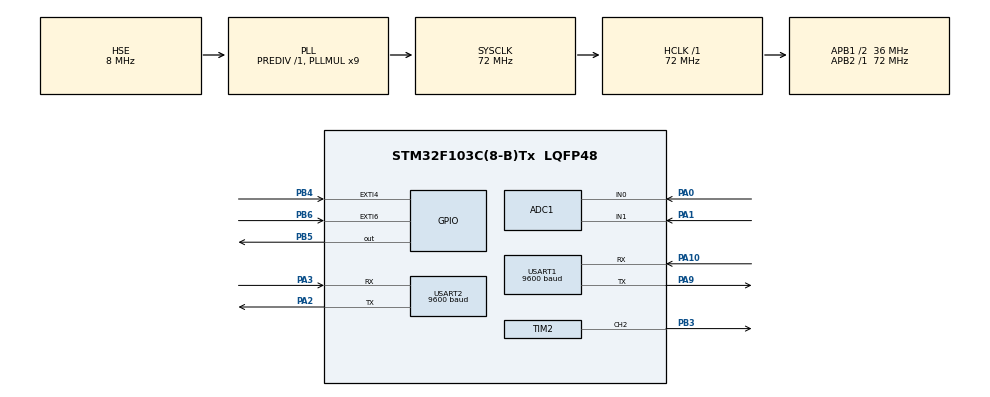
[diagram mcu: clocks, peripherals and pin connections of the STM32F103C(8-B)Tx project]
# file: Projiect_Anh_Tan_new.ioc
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ADC1.Channel-0\#ChannelRegularConversion=ADC_CHANNEL_0
ADC1.Channel-1\#ChannelRegularConversion=ADC_CHANNEL_1
ADC1.NbrOfConversion=2
ADC1.NbrOfConversionFlag=1
ADC1.Rank-0\#ChannelRegularConversion=1
ADC1.Rank-1\#ChannelRegularConversion=2
ADC1.SamplingTime-0\#ChannelRegularConversion=ADC_SAMPLETIME_239CYCLES_5
ADC1.SamplingTime-1\#ChannelRegularConversion=ADC_SAMPLETIME_239CYCLES_5
ADC1.master=1
FREERTOS.Tasks01=Voltage,0,128,Task1_TranVol,Default,NULL,Dynamic,NULL,NULL;Tranfer_Receive,-3,128,Task2_UART,Default,NULL,Dynamic,NULL,NULL;Pluse100,-3,128,Task3_Pluse,Default,NULL,Dynamic,NULL,NULL
Mcu.Family=STM32F1
Mcu.Name=STM32F103C(8-B)Tx
Mcu.Package=LQFP48
NVIC.PriorityGroup=NVIC_PRIORITYGROUP_4
NVIC.TIM4_IRQn=true\:15\:0\:false\:false\:true\:false\:false\:true\:true
NVIC.TimeBase=TIM4_IRQn
NVIC.TimeBaseIP=TIM4
NVIC.USART1_IRQn=true\:5\:0\:true\:false\:true\:true\:true\:true\:true
PA0-WKUP.Signal=ADCx_IN0
PA1.Signal=ADCx_IN1
PA10.Mode=Asynchronous
PA10.Signal=USART1_RX
PA13.Mode=Serial_Wire
PA13.Signal=SYS_JTMS-SWDIO
PA14.Mode=Serial_Wire
PA14.Signal=SYS_JTCK-SWCLK
PA2.Mode=Asynchronous
PA2.Signal=USART2_TX
PA3.Mode=Asynchronous
PA3.Signal=USART2_RX
PA9.Mode=Asynchronous
PA9.Signal=USART1_TX
PB3.Signal=S_TIM2_CH2
PB4.Signal=GPXTI4
PB5.Signal=GPIO_Output
PB6.Signal=GPXTI6
PD0-OSC_IN.Mode=HSE-External-Oscillator
PD0-OSC_IN.Signal=RCC_OSC_IN
PD1-OSC_OUT.Mode=HSE-External-Oscillator
PD1-OSC_OUT.Signal=RCC_OSC_OUT
ProjectManager.HeapSize=0x200
ProjectManager.StackSize=0x400
ProjectManager.TargetToolchain=MDK-ARM V5.32
RCC.ADCPresc=RCC_ADCPCLK2_DIV6
RCC.AHBFreq_Value=72000000
RCC.APB1CLKDivider=RCC_HCLK_DIV2
RCC.APB1Freq_Value=36000000
RCC.APB1TimFreq_Value=72000000
RCC.APB2Freq_Value=72000000
RCC.APB2TimFreq_Value=72000000
RCC.HCLKFreq_Value=72000000
RCC.PLLMUL=RCC_PLL_MUL9
RCC.PLLSourceVirtual=RCC_PLLSOURCE_HSE
RCC.SYSCLKFreq_VALUE=72000000
RCC.SYSCLKSource=RCC_SYSCLKSOURCE_PLLCLK
RCC.USBFreq_Value=72000000
SH.ADCx_IN0.0=ADC1_IN0,IN0
SH.ADCx_IN1.0=ADC1_IN1,IN1
SH.S_TIM2_CH2.0=TIM2_CH2,PWM Generation2 CH2
TIM2.Channel-PWM\ Generation2\ CH2=TIM_CHANNEL_2
TIM2.OCMode_PWM-PWM\ Generation2\ CH2=TIM_OCMODE_PWM2
TIM2.Period=9999
TIM2.Prescaler=71
USART1.BaudRate=9600
USART1.VirtualMode=VM_ASYNC
USART2.BaudRate=9600
USART2.VirtualMode=VM_ASYNC
VP_FREERTOS_VS_CMSIS_V1.Mode=CMSIS_V1
VP_SYS_VS_tim4.Mode=TIM4
VP_TIM2_VS_ClockSourceINT.Mode=Internal
VP_TIM3_VS_ClockSourceINT.Mode=Internal
board=custom

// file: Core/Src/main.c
/* USER CODE BEGIN Header */
/**
  ******************************************************************************
  * @file           : main.c
  * @brief          : Main program body
  ******************************************************************************
  * @attention
  *
  * Copyright (c) 2023 STMicroelectronics.
  * All rights reserved.
  *
  * This software is licensed under terms that can be found in the LICENSE file
  * in the root directory of this software component.
  * If no LICENSE file comes with this software, it is provided AS-IS.
  *
  ******************************************************************************
  */
/* USER CODE END Header */
#include "main.h"
#include "cmsis_os.h"

/* USER CODE BEGIN Includes */
#include <stdio.h>
#include <delay_timer.h>
/* USER CODE END Includes */

/* USER CODE BEGIN PTD */
uint16_t cnt[3];
#define MAX 100
/* USER CODE END PTD */

ADC_HandleTypeDef hadc1;

TIM_HandleTypeDef htim2;
TIM_HandleTypeDef htim3;

UART_HandleTypeDef huart1;
UART_HandleTypeDef huart2;

osThreadId VoltageHandle;
osThreadId Tranfer_ReceiveHandle;
osThreadId Pluse100Handle;

void SystemClock_Config(void);
static void MX_GPIO_Init(void);
static void MX_ADC1_Init(void);
static void MX_TIM2_Init(void);
static void MX_TIM3_Init(void);
static void MX_USART1_UART_Init(void);
static void MX_USART2_UART_Init(void);
void Task1_TranVol(void const * argument);
void Task2_UART(void const * argument);
void Task3_Pluse(void const * argument);

/* USER CODE BEGIN 0 */
uint8_t Tx0_buff[] = "Task1. Dieu khien dong co bang relay.\n";
uint8_t Rx_buff[30];
uint8_t Rx_data = 0;

uint8_t Tx1_buff[] = "Task2. Dung ADC doc gia tri dien ap.\n";
char V1_buff[MAX], V2_buff[MAX] ;
float x, y;
float V1,V2;

uint32_t cnt1 = 0, cnt2 = 0, cnt3 = 0;
/*************************DOC GIA TRI DIEN AP BANG ADC(2 CHANNAL)****************************************/
//TRUYEN 100 XUNG VOI DO RONG LA 10MS
void Pluse()
{
	 __HAL_TIM_SetCompare(&htim2, TIM_CHANNEL_2, 5000);
	Delayms(10000);

	 __HAL_TIM_SetCompare(&htim2, TIM_CHANNEL_2, 10000);
}

/********************************************************************************************************/
//TRUYEN NHAN DU LIEU UART
void HAL_UART_RxCpltCallback(UART_HandleTypeDef *huart)
{
	if(huart->Instance == huart1.Instance)
	{
		if(Rx_data == '1')
	  {
		  HAL_UART_Transmit(&huart1, (uint8_t*)"Relay 1 dong.\n", 15, 300);
		  HAL_GPIO_WritePin(GPIOB, GPIO_PIN_4, GPIO_PIN_SET);
	  }
	  if(Rx_data == '2')
	  {
		  HAL_UART_Transmit(&huart1, (uint8_t*)"Relay 2 dong.\n", 15, 300);
		  HAL_GPIO_WritePin(GPIOB, GPIO_PIN_5, GPIO_PIN_SET);
	  }
	  if(Rx_data == '3')
	  {
		  HAL_UART_Transmit(&huart1, (uint8_t*)"Relay 3 dong.\n", 15, 300);
		  HAL_GPIO_WritePin(GPIOB, GPIO_PIN_6, GPIO_PIN_SET);
	  }
	  if(Rx_data == 'a')
	  {
		  HAL_UART_Transmit(&huart1, (uint8_t*)"Relay 1 cat.\n", 14, 300);
		  HAL_GPIO_WritePin(GPIOB, GPIO_PIN_4, GPIO_PIN_RESET);
	  }
	  if(Rx_data == 'b')
	  {
		 HAL_UART_Transmit(&huart1, (uint8_t*)"Relay 2 cat.\n", 14, 300);
		  HAL_GPIO_WritePin(GPIOB, GPIO_PIN_5, GPIO_PIN_RESET);
	  }
	  if(Rx_data == 'c')
	  {
		  HAL_UART_Transmit(&huart1, (uint8_t*)"Relay 3 cat.\n", 14, 300);
		  HAL_GPIO_WritePin(GPIOB, GPIO_PIN_6, GPIO_PIN_RESET);
	  }
	  if(Rx_data == '0')
	  {
		  HAL_UART_Transmit(&huart1, (uint8_t*)"Ca 3 Relay cung cat.\n", 21, 300);
		  HAL_GPIO_WritePin(GPIOB, GPIO_PIN_4, GPIO_PIN_RESET);
		  HAL_GPIO_WritePin(GPIOB, GPIO_PIN_5, GPIO_PIN_RESET);
		  HAL_GPIO_WritePin(GPIOB, GPIO_PIN_6, GPIO_PIN_RESET);
	  }
		if(Rx_data == 'p')
	   {
		  HAL_UART_Transmit(&huart1, (uint8_t*)"Start\n", 6, 300);
		  Pluse();
		  HAL_UART_Transmit(&huart1, (uint8_t*)"End\n", 4, 300);
		 }
		HAL_UART_Receive_IT(&huart1, &Rx_data, 1);
	}
	if(huart->Instance == huart2.Instance)
	{
//		if(Rx_data == 'p')
//	   {
//		  HAL_UART_Transmit(&huart1, (uint8_t*)"Start\n", 6, 300);
//		  Pluse();
//		  HAL_UART_Transmit(&huart1, (uint8_t*)"End\n", 4, 300);
//		 }
	}
	HAL_UART_Receive_IT(&huart2, &Rx_data, 1);
}

/*************************DOC GIA TRI DIEN AP BANG ADC(2 CHANNAL)****************************************/
//KHOI TAO ADC1 CHANNAL 0
void ADC_Select_CH0 (void)
{
 ADC_ChannelConfTypeDef sConfig = {0};
 sConfig.Channel = ADC_CHANNEL_0;
 sConfig.Rank = ADC_REGULAR_RANK_1;
 sConfig.SamplingTime = ADC_SAMPLETIME_239CYCLES_5;
 if (HAL_ADC_ConfigChannel(&hadc1, &sConfig) != HAL_OK)
 {
   Error_Handler();
 }
}

//KHOI TAO ADC1 CHANNAL 1
void ADC_Select_CH1 (void)
{
 ADC_ChannelConfTypeDef sConfig = {0};
 sConfig.Channel = ADC_CHANNEL_1;
 sConfig.Rank = ADC_REGULAR_RANK_1;
 sConfig.SamplingTime = ADC_SAMPLETIME_239CYCLES_5;
 if (HAL_ADC_ConfigChannel(&hadc1, &sConfig) != HAL_OK)
 {
   Error_Handler();
 }
}

//DOC GIA TRI DIEN AP 5V(PA0)
void ReadVol_PA0()
{
	ADC_Select_CH0();
	HAL_ADC_Start(&hadc1);
	HAL_ADC_PollForConversion(&hadc1, 300);
	x = HAL_ADC_GetValue(&hadc1);
  V1 = x*5.5/4095;
	snprintf(V1_buff, 99, "%.2f", V1);
	HAL_ADC_Stop(&hadc1);
}

//DOC GIA TRI DIEN AP 3V3(PA0)
void ReadVol_PA1()
{
	ADC_Select_CH1();
	HAL_ADC_Start(&hadc1);
	HAL_ADC_PollForConversion(&hadc1, 300);
	y = HAL_ADC_GetValue(&hadc1);
  V2 = y*3.3/4095;
	snprintf(V2_buff, 99, "%.2f", V2);
	HAL_ADC_Stop(&hadc1);
}

//HIEN THI GIA TRI 5V - UART
void TranVol_PA0()
{
	ReadVol_PA0();
	HAL_UART_Transmit(&huart1, (uint8_t *)"Gia tri dien ap tai chan PA0 la: ", 35, 300);
	HAL_UART_Transmit(&huart1, (uint8_t *)V1_buff, sizeof(V1_buff), 300);
	HAL_UART_Transmit(&huart1, (uint8_t *)"\n", 1, 300);
}

//HIEN THI GIA TRI 3V3 - UART
void TranVol_PA1()
{
	ReadVol_PA1();
	HAL_UART_Transmit(&huart1,(uint8_t *)"Gia tri dien ap tai chan PA1 la: ", 35, 300);
	HAL_UART_Transmit(&huart1, (uint8_t *)V2_buff, sizeof(V2_buff), 300);
	HAL_UART_Transmit(&huart1, (uint8_t *)"\n", 1, 300);
}

/*****************************************************************************************************/
/* USER CODE END 0 */

int main(void)
{

  /* MCU Configuration--------------------------------------------------------*/

  /* Reset of all peripherals, Initializes the Flash interface and the Systick. */
  HAL_Init();

  /* Configure the system clock */
  SystemClock_Config();

  /* Initialize all configured peripherals */
  MX_GPIO_Init();
  MX_ADC1_Init();
  MX_TIM2_Init();
  MX_TIM3_Init();
  MX_USART1_UART_Init();
  MX_USART2_UART_Init();
  /* USER CODE BEGIN 2 */
	HAL_UART_Receive_IT(&huart1, &Rx_data, 1);
  HAL_UART_Receive_IT(&huart2, &Rx_data, 1);
  /* USER CODE END 2 */

  /* Create the thread(s) */
  /* definition and creation of Voltage */
  osThreadDef(Voltage, Task1_TranVol, osPriorityNormal, 0, 128);
  VoltageHandle = osThreadCreate(osThread(Voltage), NULL);

  /* definition and creation of Tranfer_Receive */
  osThreadDef(Tranfer_Receive, Task2_UART, osPriorityIdle, 0, 128);
  Tranfer_ReceiveHandle = osThreadCreate(osThread(Tranfer_Receive), NULL);

  /* definition and creation of Pluse100 */
  osThreadDef(Pluse100, Task3_Pluse, osPriorityIdle, 0, 128);
  Pluse100Handle = osThreadCreate(osThread(Pluse100), NULL);

  /* Start scheduler */
  osKernelStart();

  /* We should never get here as control is now taken by the scheduler */
  /* Infinite loop */
  while (1)
  {

  }
}

void SystemClock_Config(void)
{
  RCC_OscInitTypeDef RCC_OscInitStruct = {0};
  RCC_ClkInitTypeDef RCC_ClkInitStruct = {0};
  RCC_PeriphCLKInitTypeDef PeriphClkInit = {0};

  /** Initializes the RCC Oscillators according to the specified parameters
  * in the RCC_OscInitTypeDef structure.
  */
  RCC_OscInitStruct.OscillatorType = RCC_OSCILLATORTYPE_HSE;
  RCC_OscInitStruct.HSEState = RCC_HSE_ON;
  RCC_OscInitStruct.HSEPredivValue = RCC_HSE_PREDIV_DIV1;
  RCC_OscInitStruct.HSIState = RCC_HSI_ON;
  RCC_OscInitStruct.PLL.PLLState = RCC_PLL_ON;
  RCC_OscInitStruct.PLL.PLLSource = RCC_PLLSOURCE_HSE;
  RCC_OscInitStruct.PLL.PLLMUL = RCC_PLL_MUL9;
  if (HAL_RCC_OscConfig(&RCC_OscInitStruct) != HAL_OK)
  {
    Error_Handler();
  }

  /** Initializes the CPU, AHB and APB buses clocks
  */
  RCC_ClkInitStruct.ClockType = RCC_CLOCKTYPE_HCLK|RCC_CLOCKTYPE_SYSCLK
                              |RCC_CLOCKTYPE_PCLK1|RCC_CLOCKTYPE_PCLK2;
  RCC_ClkInitStruct.SYSCLKSource = RCC_SYSCLKSOURCE_PLLCLK;
  RCC_ClkInitStruct.AHBCLKDivider = RCC_SYSCLK_DIV1;
  RCC_ClkInitStruct.APB1CLKDivider = RCC_HCLK_DIV2;
  RCC_ClkInitStruct.APB2CLKDivider = RCC_HCLK_DIV1;

  if (HAL_RCC_ClockConfig(&RCC_ClkInitStruct, FLASH_LATENCY_2) != HAL_OK)
  {
    Error_Handler();
  }
  PeriphClkInit.PeriphClockSelection = RCC_PERIPHCLK_ADC;
  PeriphClkInit.AdcClockSelection = RCC_ADCPCLK2_DIV6;
  if (HAL_RCCEx_PeriphCLKConfig(&PeriphClkInit) != HAL_OK)
  {
    Error_Handler();
  }
}

static void MX_ADC1_Init(void)
{

  ADC_ChannelConfTypeDef sConfig = {0};

  /** Common config
  */
  hadc1.Instance = ADC1;
  hadc1.Init.ScanConvMode = ADC_SCAN_ENABLE;
  hadc1.Init.ContinuousConvMode = DISABLE;
  hadc1.Init.DiscontinuousConvMode = DISABLE;
  hadc1.Init.ExternalTrigConv = ADC_SOFTWARE_START;
  hadc1.Init.DataAlign = ADC_DATAALIGN_RIGHT;
  hadc1.Init.NbrOfConversion = 2;
  if (HAL_ADC_Init(&hadc1) != HAL_OK)
  {
    Error_Handler();
  }

  /** Configure Regular Channel
  */
  sConfig.Channel = ADC_CHANNEL_0;
  sConfig.Rank = ADC_REGULAR_RANK_1;
  sConfig.SamplingTime = ADC_SAMPLETIME_239CYCLES_5;
  if (HAL_ADC_ConfigChannel(&hadc1, &sConfig) != HAL_OK)
  {
    Error_Handler();
  }

  /** Configure Regular Channel
  */
  sConfig.Channel = ADC_CHANNEL_1;
  sConfig.Rank = ADC_REGULAR_RANK_2;
  if (HAL_ADC_ConfigChannel(&hadc1, &sConfig) != HAL_OK)
  {
    Error_Handler();
  }

}

static void MX_TIM2_Init(void)
{

  TIM_ClockConfigTypeDef sClockSourceConfig = {0};
  TIM_MasterConfigTypeDef sMasterConfig = {0};
  TIM_OC_InitTypeDef sConfigOC = {0};

  htim2.Instance = TIM2;
  htim2.Init.Prescaler = 71;
  htim2.Init.CounterMode = TIM_COUNTERMODE_UP;
  htim2.Init.Period = 9999;
  htim2.Init.ClockDivision = TIM_CLOCKDIVISION_DIV1;
  htim2.Init.AutoReloadPreload = TIM_AUTORELOAD_PRELOAD_DISABLE;
  if (HAL_TIM_Base_Init(&htim2) != HAL_OK)
  {
    Error_Handler();
  }
  sClockSourceConfig.ClockSource = TIM_CLOCKSOURCE_INTERNAL;
  if (HAL_TIM_ConfigClockSource(&htim2, &sClockSourceConfig) != HAL_OK)
  {
    Error_Handler();
  }
  if (HAL_TIM_PWM_Init(&htim2) != HAL_OK)
  {
    Error_Handler();
  }
  sMasterConfig.MasterOutputTrigger = TIM_TRGO_RESET;
  sMasterConfig.MasterSlaveMode = TIM_MASTERSLAVEMODE_DISABLE;
  if (HAL_TIMEx_MasterConfigSynchronization(&htim2, &sMasterConfig) != HAL_OK)
  {
    Error_Handler();
  }
  sConfigOC.OCMode = TIM_OCMODE_PWM2;
  sConfigOC.Pulse = 0;
  sConfigOC.OCPolarity = TIM_OCPOLARITY_HIGH;
  sConfigOC.OCFastMode = TIM_OCFAST_DISABLE;
  if (HAL_TIM_PWM_ConfigChannel(&htim2, &sConfigOC, TIM_CHANNEL_2) != HAL_OK)
  {
    Error_Handler();
  }
  HAL_TIM_MspPostInit(&htim2);

}

static void MX_TIM3_Init(void)
{

  TIM_ClockConfigTypeDef sClockSourceConfig = {0};
  TIM_MasterConfigTypeDef sMasterConfig = {0};

  htim3.Instance = TIM3;
  htim3.Init.Prescaler = 0;
  htim3.Init.CounterMode = TIM_COUNTERMODE_UP;
  htim3.Init.Period = 65535;
  htim3.Init.ClockDivision = TIM_CLOCKDIVISION_DIV1;
  htim3.Init.AutoReloadPreload = TIM_AUTORELOAD_PRELOAD_DISABLE;
  if (HAL_TIM_Base_Init(&htim3) != HAL_OK)
  {
    Error_Handler();
  }
  sClockSourceConfig.ClockSource = TIM_CLOCKSOURCE_INTERNAL;
  if (HAL_TIM_ConfigClockSource(&htim3, &sClockSourceConfig) != HAL_OK)
  {
    Error_Handler();
  }
  sMasterConfig.MasterOutputTrigger = TIM_TRGO_RESET;
  sMasterConfig.MasterSlaveMode = TIM_MASTERSLAVEMODE_DISABLE;
  if (HAL_TIMEx_MasterConfigSynchronization(&htim3, &sMasterConfig) != HAL_OK)
  {
    Error_Handler();
  }

}

static void MX_USART1_UART_Init(void)
{

  huart1.Instance = USART1;
  huart1.Init.BaudRate = 9600;
  huart1.Init.WordLength = UART_WORDLENGTH_8B;
  huart1.Init.StopBits = UART_STOPBITS_1;
  huart1.Init.Parity = UART_PARITY_NONE;
  huart1.Init.Mode = UART_MODE_TX_RX;
  huart1.Init.HwFlowCtl = UART_HWCONTROL_NONE;
  huart1.Init.OverSampling = UART_OVERSAMPLING_16;
  if (HAL_UART_Init(&huart1) != HAL_OK)
  {
    Error_Handler();
  }

}

static void MX_USART2_UART_Init(void)
{

  huart2.Instance = USART2;
  huart2.Init.BaudRate = 9600;
  huart2.Init.WordLength = UART_WORDLENGTH_8B;
  huart2.Init.StopBits = UART_STOPBITS_1;
  huart2.Init.Parity = UART_PARITY_NONE;
  huart2.Init.Mode = UART_MODE_TX_RX;
  huart2.Init.HwFlowCtl = UART_HWCONTROL_NONE;
  huart2.Init.OverSampling = UART_OVERSAMPLING_16;
  if (HAL_UART_Init(&huart2) != HAL_OK)
  {
    Error_Handler();
  }

}

static void MX_GPIO_Init(void)
{
  GPIO_InitTypeDef GPIO_InitStruct = {0};

  /* GPIO Ports Clock Enable */
  __HAL_RCC_GPIOD_CLK_ENABLE();
  __HAL_RCC_GPIOA_CLK_ENABLE();
  __HAL_RCC_GPIOB_CLK_ENABLE();

  /*Configure GPIO pin Output Level */
  HAL_GPIO_WritePin(GPIOB, GPIO_PIN_5, GPIO_PIN_RESET);

  /*Configure GPIO pins : PB4 PB6 */
  GPIO_InitStruct.Pin = GPIO_PIN_4|GPIO_PIN_6;
  GPIO_InitStruct.Mode = GPIO_MODE_IT_RISING;
  GPIO_InitStruct.Pull = GPIO_NOPULL;
  HAL_GPIO_Init(GPIOB, &GPIO_InitStruct);

  /*Configure GPIO pin : PB5 */
  GPIO_InitStruct.Pin = GPIO_PIN_5;
  GPIO_InitStruct.Mode = GPIO_MODE_OUTPUT_PP;
  GPIO_InitStruct.Pull = GPIO_NOPULL;
  GPIO_InitStruct.Speed = GPIO_SPEED_FREQ_LOW;
  HAL_GPIO_Init(GPIOB, &GPIO_InitStruct);

}

void Task1_TranVol(void const * argument)
{
  /* USER CODE BEGIN 5 */
  /* Infinite loop */
  for(;;)
  {
		TranVol_PA0();
		TranVol_PA1();
		cnt[0]++;
    osDelay(1000);
  }
  /* USER CODE END 5 */
}

void Task2_UART(void const * argument)
{
  /* USER CODE BEGIN Task2_UART */
  /* Infinite loop */
  for(;;)
  {
    cnt[1]++;
    osDelay(1000);
  }
  /* USER CODE END Task2_UART */
}

void Task3_Pluse(void const * argument)
{
  /* USER CODE BEGIN Task3_Pluse */
  /* Infinite loop */
  for(;;)
  {
    cnt[2]++;
    osDelay(1000);
  }
  /* USER CODE END Task3_Pluse */
}

void HAL_TIM_PeriodElapsedCallback(TIM_HandleTypeDef *htim)
{
  if (htim->Instance == TIM4) {
    HAL_IncTick();
  }
}

void Error_Handler(void)
{
  __disable_irq();
  while (1)
  {
  }
}
